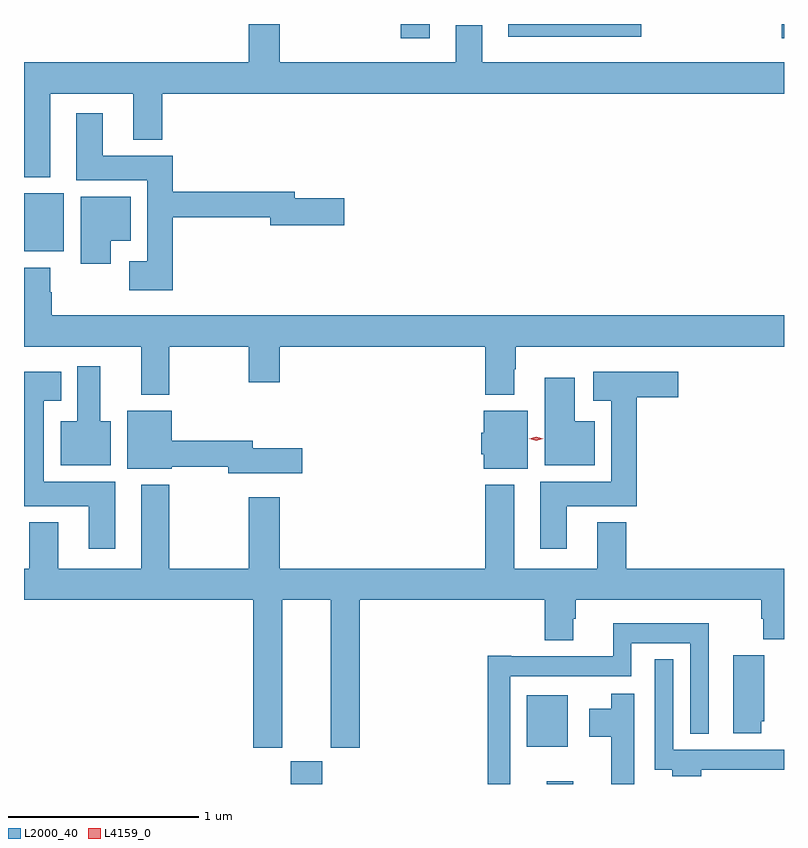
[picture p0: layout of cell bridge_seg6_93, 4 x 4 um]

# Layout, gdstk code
import gdstk
lib = gdstk.Library(unit=1e-6, precision=1e-09)
def R(c, l, rs):  # rectangles x0, y0, x1, y1
    for r in rs: c.add(gdstk.rectangle(r[:2], r[2:], *l))
def P(c, l, *ps):  # polygons
    for p in ps: c.add(gdstk.Polygon(p, *l))
L2000_40 = (2000, 40)
L4159_0 = (4159, 0)

bridge_seg6_93 = lib.new_cell('bridge_seg6_93')
R(bridge_seg6_93, L2000_40, [(788.606,923.722,788.77,923.841), (789.953,923.722,790.093,923.737), (789.848,923.918,790.063,924.19), (787.201,926.525,787.411,926.83), (789.185,927.648,789.337,927.722), (791.188,927.648,791.201,927.722), (789.749,927.656,790.45,927.722)])
P(bridge_seg6_93, L2000_40, [(787.339,927.356),(787.775,927.356),(787.775,927.113),(787.928,927.113),(787.928,927.356),(791.201,927.356),(791.201,927.52),(789.613,927.52),(789.613,927.715),(789.473,927.715),(789.473,927.52),(788.548,927.52),(788.548,927.722),(788.384,927.722),(788.384,927.52),(787.201,927.52),(787.201,926.915),(787.339,926.915)],
  [(787.985,926.704),(788.498,926.704),(788.498,926.662),(788.887,926.662),(788.887,926.804),(788.626,926.804),(788.626,926.84),(787.985,926.84),(787.985,927.028),(787.615,927.028),(787.615,927.253),(787.475,927.253),(787.475,926.9),(787.85,926.9),(787.85,926.473),(787.755,926.473),(787.755,926.321),(787.985,926.321)],
  [(787.657,926.582),(787.762,926.582),(787.762,926.812),(787.499,926.812),(787.499,926.46),(787.657,926.46)],
  [(787.965,926.024),(788.384,926.024),(788.384,925.836),(788.548,925.836),(788.548,926.024),(789.629,926.024),(789.629,925.772),(789.781,925.772),(789.781,925.904),(789.789,925.904),(789.789,926.024),(791.201,926.024),(791.201,926.188),(787.347,926.188),(787.347,926.309),(787.339,926.309),(787.339,926.44),(787.201,926.44),(787.201,926.024),(787.817,926.024),(787.817,925.772),(787.965,925.772)],
  [(787.657,925.63),(787.603,925.63),(787.603,925.921),(787.481,925.921),(787.481,925.63),(787.394,925.63),(787.394,925.4),(787.657,925.4)],
  [(790.057,925.184),(790.427,925.184),(790.427,925.757),(790.645,925.757),(790.645,925.891),(790.197,925.891),(790.197,925.739),(790.292,925.739),(790.292,925.312),(789.917,925.312),(789.917,924.96),(790.057,924.96)],
  [(787.681,925.312),(787.306,925.312),(787.306,925.739),(787.396,925.739),(787.396,925.891),(787.201,925.891),(787.201,925.184),(787.541,925.184),(787.541,924.96),(787.681,924.96)],
  [(790.204,925.63),(790.099,925.63),(790.099,925.861),(789.941,925.861),(789.941,925.4),(790.204,925.4)],
  [(789.853,925.687),(789.62,925.687),(789.62,925.572),(789.608,925.572),(789.608,925.458),(789.62,925.458),(789.62,925.382),(789.853,925.382)],
  [(788.665,925.488),(788.404,925.488),(788.404,925.529),(787.978,925.529),(787.978,925.687),(787.745,925.687),(787.745,925.382),(787.978,925.382),(787.978,925.393),(788.276,925.393),(788.276,925.358),(788.665,925.358)],
  [(788.56,924.692),(788.816,924.692),(788.816,923.913),(788.969,923.913),(788.969,924.692),(789.941,924.692),(789.941,924.479),(790.093,924.479),(790.093,924.591),(790.106,924.591),(790.106,924.692),(791.081,924.692),(791.081,924.593),(791.093,924.593),(791.093,924.484),(791.201,924.484),(791.201,924.856),(790.37,924.856),(790.37,925.099),(790.217,925.099),(790.217,924.856),(789.781,924.856),(789.781,925.297),(789.629,925.297),(789.629,924.856),(788.548,924.856),(788.548,925.231),(788.384,925.231),(788.384,924.856),(787.965,924.856),(787.965,925.297),(787.817,925.297),(787.817,924.856),(787.381,924.856),(787.381,925.099),(787.229,925.099),(787.229,924.856),(787.201,924.856),(787.201,924.692),(788.408,924.692),(788.408,923.913),(788.56,923.913)],
  [(789.759,924.29),(790.398,924.29),(790.398,924.464),(790.707,924.464),(790.707,923.987),(790.804,923.987),(790.804,924.568),(790.301,924.568),(790.301,924.394),(789.766,924.394),(789.766,924.397),(789.643,924.397),(789.643,923.722),(789.759,923.722)],
  [(791.08,924.051),(791.098,924.051),(791.098,924.399),(790.934,924.399),(790.934,923.988),(791.08,923.988)],
  [(790.766,923.796),(790.997,923.796),(790.997,923.798),(791.201,923.798),(791.201,923.902),(790.617,923.902),(790.617,924.379),(790.521,924.379),(790.521,923.796),(790.613,923.796),(790.613,923.762),(790.766,923.762)],
  [(790.414,924.196),(790.292,924.196),(790.292,924.118),(790.175,924.118),(790.175,923.971),(790.292,923.971),(790.292,923.722),(790.414,923.722)])
P(bridge_seg6_93, L4159_0, [(789.898,925.529),(789.861,925.539),(789.86,925.539),(789.861,925.539),(789.898,925.549),(789.935,925.539),(789.935,925.539),(789.935,925.539)])

lib.write_gds('bridge_seg6_93.gds')
